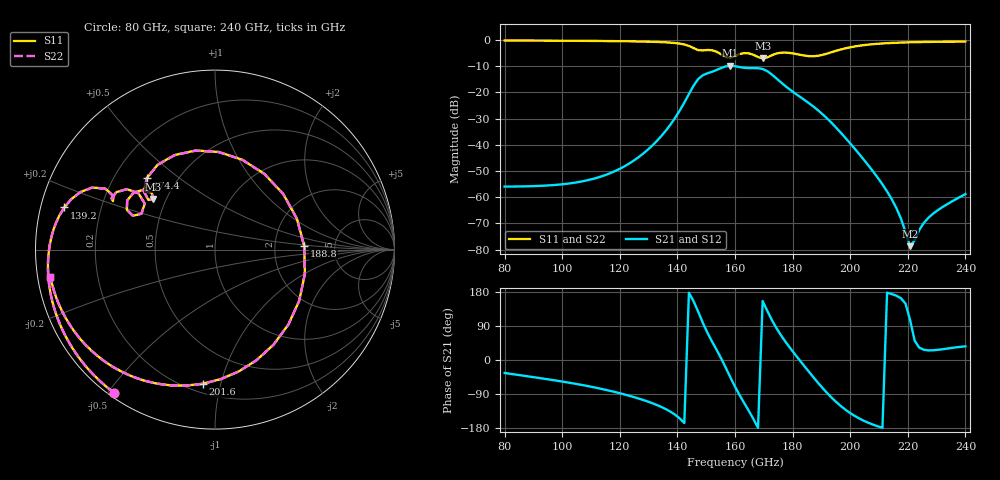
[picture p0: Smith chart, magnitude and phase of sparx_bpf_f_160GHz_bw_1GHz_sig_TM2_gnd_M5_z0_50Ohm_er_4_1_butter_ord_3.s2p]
#  GHZ S DB R 50.0
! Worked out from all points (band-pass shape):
!   101 points, 80 GHz to 240 GHz, reference 50 ohm
!   highest |S21| = -9.87 dB at 158.4 GHz (marker M1); lowest = -78.7 dB at 220.8 GHz (marker M2)
!   |S21| within 3 dB of the highest: 150.1 GHz to 172.4 GHz (22.26 GHz wide, 13.8 % of centre)
!   lowest |S11| = -7.1 dB at 169.6 GHz (marker M3), VSWR 2.60, Z = 21.3 + j15 ohm
!   |S11| at or under -10 dB: nowhere
!   |S22| runs from -7.1 to -0.2 dB; largest |S21 - S12| = 5.8e-13
!   S11 on the Smith chart (normalised r, x): 80 GHz: 0.02, -0.52; 139.2 GHz: 0.07, +0.14; 174.4 GHz: 0.34, +0.39; 188.8 GHz: 2.97, +0.16; 201.6 GHz: 0.26, -0.88; 240 GHz: 0.04, -0.08
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80  -0.21 -125.3  -55.94 -34.2  -55.94 -34.2  -0.21 -125.3
107.2  -0.36 -153.8  -53.89 -66.4  -53.89 -66.4  -0.36 -153.7
121.6  -0.51 -169.4  -48.22 -90.9  -48.22 -90.9  -0.51 -169.4
134.4  -0.84 173.3  -36.69 -123.8  -36.69 -123.8  -0.84 173.4
139.2  -1.19 164.4  -29.74 -144.4  -29.74 -144.4  -1.19 164.5
147.2  -3.89 152.1  -14.94 127.8  -14.94 127.8  -3.88 152.2
150.4  -3.84 153.5  -12.74 72.3  -12.74 72.3  -3.83 153.6
155.2  -5.50 143.6  -10.70 4.1  -10.70 4.1  -5.50 143.7
158.4  -6.83 153.9  -9.87 -45.8  -9.87 -45.8  -6.82 154.0
160  -6.12 157.6  -10.02 -70.2  -10.02 -70.2  -6.11 157.7
166.4  -5.68 140.1  -10.75 -155.7  -10.75 -155.7  -5.68 140.1
169.6  -7.06 140.6  -11.10 155.5  -11.10 155.5  -7.07 140.6
174.4  -5.18 133.7  -14.69 84.0  -14.69 84.0  -5.19 133.7
180.8  -5.28 87.8  -20.35 15.4  -20.35 15.4  -5.29 87.8
187.2  -6.23 20.8  -25.39 -45.3  -25.39 -45.3  -6.24 20.7
188.8  -6.06 2.4  -26.81 -59.8  -26.81 -59.8  -6.07 2.2
195.2  -4.13 -58.3  -33.56 -111.3  -33.56 -111.3  -4.12 -58.4
201.6  -2.49 -95.3  -41.52 -147.7  -41.52 -147.7  -2.49 -95.3
214.4  -1.16 -134.5  -60.70 174.0  -60.70 174.0  -1.16 -134.4
220.8  -0.91 -146.4  -78.66 105.4  -78.66 105.4  -0.91 -146.3
227.2  -0.77 -155.8  -67.79 25.4  -67.79 25.4  -0.76 -155.8
240  -0.64 -170.7  -58.80 36.1  -58.80 36.1  -0.63 -170.6
